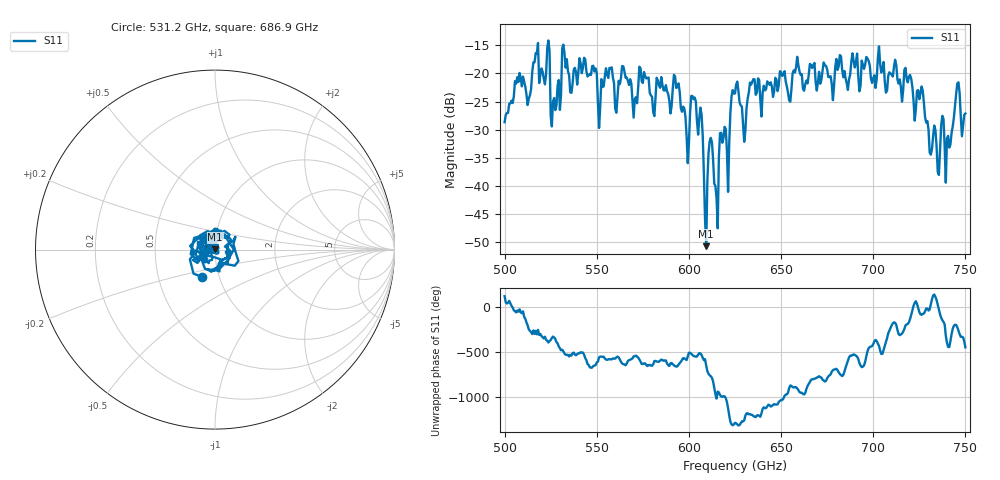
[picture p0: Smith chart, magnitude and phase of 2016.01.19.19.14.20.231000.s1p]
!Created with skrf (http://scikit-rf.org).
# GHz S RI R 50.0
!freq ReS11 ImS11
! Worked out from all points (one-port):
!   401 points, 500 GHz to 750 GHz, reference 50 ohm
!   lowest |S11| = -50.7 dB at 609.4 GHz (marker M1), VSWR 1.01, Z = 50.1 + j0.27 ohm
!   |S11| at or under -10 dB: start of sweep to end of sweep
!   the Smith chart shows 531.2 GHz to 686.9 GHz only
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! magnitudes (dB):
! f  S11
! 500 GHz  -28.7
! 506.9 GHz  -20.7
! 513.1 GHz  -24.5
! 516.9 GHz  -16.4
! 523.1 GHz  -15.5
! 526.2 GHz  -25.0
! 531.2 GHz  -15.5
! 551.9 GHz  -26.0
! 562.5 GHz  -21.9
! 593.8 GHz  -22.4
! 598.8 GHz  -31.2
! 602.5 GHz  -24.6
! 606.2 GHz  -26.1
! 609.4 GHz  -50.7
! 611.9 GHz  -31.4
! 615 GHz  -42.2
! 617.5 GHz  -30.5
! 621.2 GHz  -41.0
! 625 GHz  -23.6
! 630 GHz  -32.1
! 634.4 GHz  -21.5
! 656.2 GHz  -20.0
! 687.5 GHz  -20.2
! 718.8 GHz  -21.6
! 735 GHz  -37.5
! 740.6 GHz  -31.1
! 745.6 GHz  -21.8
! 750 GHz  -27.1
